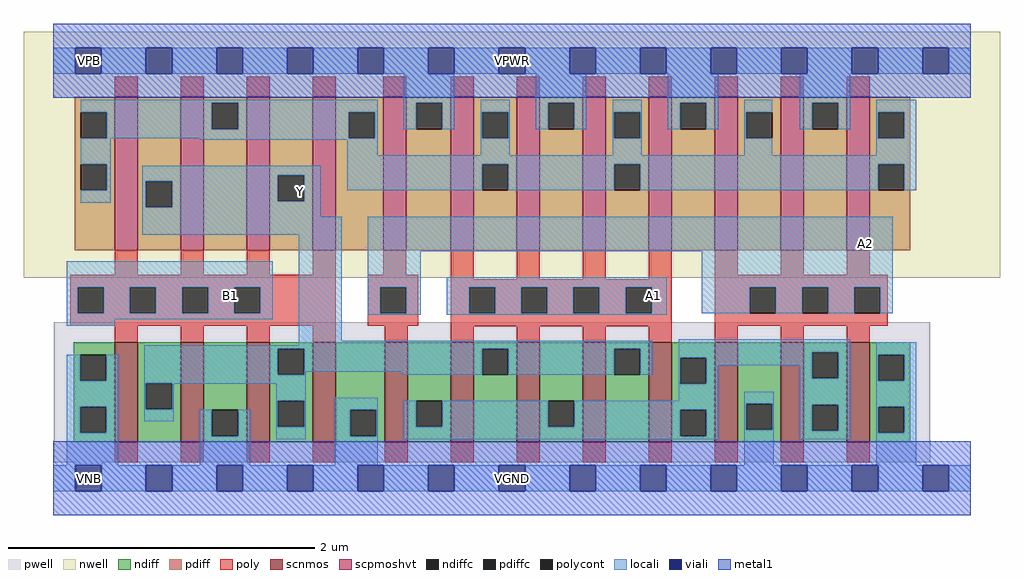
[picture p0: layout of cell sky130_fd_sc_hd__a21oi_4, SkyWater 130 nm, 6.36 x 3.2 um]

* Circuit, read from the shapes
.subckt sky130_fd_sc_hd__a21oi_4 A1 A2 B1 VGND VNB VPB VPWR Y
XM1 Y B1 VGND VNB sky130_fd_pr__nfet_01v8 w=0.65 l=0.15 m=4
XM2 n1 A2 VGND VNB sky130_fd_pr__nfet_01v8 w=0.65 l=0.15 m=4
XM3 Y A1 n1 VNB sky130_fd_pr__nfet_01v8 w=0.65 l=0.15 m=4
XM4 Y B1 n2 VPB sky130_fd_pr__pfet_01v8_hvt w=1 l=0.15 m=4
XM5 VPWR A2 n2 VPB sky130_fd_pr__pfet_01v8_hvt w=1 l=0.15 m=4
XM6 n2 A1 VPWR VPB sky130_fd_pr__pfet_01v8_hvt w=1 l=0.15 m=4
.ends

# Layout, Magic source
magic
tech sky130B
magscale 1 2
<< nwell >>
rect -38 261 1234 582
<< pwell >>
rect 1 21 1143 203
rect 30 -17 64 21
<< scnmos >>
rect 80 47 110 177
rect 166 47 196 177
rect 252 47 282 177
rect 338 47 368 177
rect 432 47 462 177
rect 518 47 548 177
rect 604 47 634 177
rect 690 47 720 177
rect 776 47 806 177
rect 862 47 892 177
rect 948 47 978 177
rect 1034 47 1064 177
<< scpmoshvt >>
rect 80 297 110 497
rect 166 297 196 497
rect 252 297 282 497
rect 338 297 368 497
rect 430 297 460 497
rect 518 297 548 497
rect 604 297 634 497
rect 690 297 720 497
rect 776 297 806 497
rect 862 297 892 497
rect 948 297 978 497
rect 1034 297 1064 497
<< ndiff >>
rect 27 161 80 177
rect 27 127 35 161
rect 69 127 80 161
rect 27 93 80 127
rect 27 59 35 93
rect 69 59 80 93
rect 27 47 80 59
rect 110 124 166 177
rect 110 90 121 124
rect 155 90 166 124
rect 110 47 166 90
rect 196 89 252 177
rect 196 55 207 89
rect 241 55 252 89
rect 196 47 252 55
rect 282 169 338 177
rect 282 135 293 169
rect 327 135 338 169
rect 282 101 338 135
rect 282 67 293 101
rect 327 67 338 101
rect 282 47 338 67
rect 368 89 432 177
rect 368 55 387 89
rect 421 55 432 89
rect 368 47 432 55
rect 462 101 518 177
rect 462 67 473 101
rect 507 67 518 101
rect 462 47 518 67
rect 548 169 604 177
rect 548 135 559 169
rect 593 135 604 169
rect 548 47 604 135
rect 634 101 690 177
rect 634 67 645 101
rect 679 67 690 101
rect 634 47 690 67
rect 720 169 776 177
rect 720 135 731 169
rect 765 135 776 169
rect 720 47 776 135
rect 806 157 862 177
rect 806 123 817 157
rect 851 123 862 157
rect 806 89 862 123
rect 806 55 817 89
rect 851 55 862 89
rect 806 47 862 55
rect 892 97 948 177
rect 892 63 903 97
rect 937 63 948 97
rect 892 47 948 63
rect 978 164 1034 177
rect 978 130 989 164
rect 1023 130 1034 164
rect 978 96 1034 130
rect 978 62 989 96
rect 1023 62 1034 96
rect 978 47 1034 62
rect 1064 161 1117 177
rect 1064 127 1075 161
rect 1109 127 1117 161
rect 1064 93 1117 127
rect 1064 59 1075 93
rect 1109 59 1117 93
rect 1064 47 1117 59
<< pdiff >>
rect 28 477 80 497
rect 28 443 36 477
rect 70 443 80 477
rect 28 409 80 443
rect 28 375 36 409
rect 70 375 80 409
rect 28 297 80 375
rect 110 387 166 497
rect 110 353 121 387
rect 155 353 166 387
rect 110 297 166 353
rect 196 489 252 497
rect 196 455 207 489
rect 241 455 252 489
rect 196 297 252 455
rect 282 395 338 497
rect 282 361 293 395
rect 327 361 338 395
rect 282 297 338 361
rect 368 477 430 497
rect 368 443 385 477
rect 419 443 430 477
rect 368 297 430 443
rect 460 489 518 497
rect 460 455 473 489
rect 507 455 518 489
rect 460 297 518 455
rect 548 477 604 497
rect 548 443 559 477
rect 593 443 604 477
rect 548 409 604 443
rect 548 375 559 409
rect 593 375 604 409
rect 548 297 604 375
rect 634 489 690 497
rect 634 455 645 489
rect 679 455 690 489
rect 634 297 690 455
rect 720 477 776 497
rect 720 443 731 477
rect 765 443 776 477
rect 720 409 776 443
rect 720 375 731 409
rect 765 375 776 409
rect 720 297 776 375
rect 806 489 862 497
rect 806 455 817 489
rect 851 455 862 489
rect 806 297 862 455
rect 892 477 948 497
rect 892 443 903 477
rect 937 443 948 477
rect 892 297 948 443
rect 978 489 1034 497
rect 978 455 989 489
rect 1023 455 1034 489
rect 978 297 1034 455
rect 1064 477 1117 497
rect 1064 443 1075 477
rect 1109 443 1117 477
rect 1064 409 1117 443
rect 1064 375 1075 409
rect 1109 375 1117 409
rect 1064 297 1117 375
<< ndiffc >>
rect 35 127 69 161
rect 35 59 69 93
rect 121 90 155 124
rect 207 55 241 89
rect 293 135 327 169
rect 293 67 327 101
rect 387 55 421 89
rect 473 67 507 101
rect 559 135 593 169
rect 645 67 679 101
rect 731 135 765 169
rect 817 123 851 157
rect 817 55 851 89
rect 903 63 937 97
rect 989 130 1023 164
rect 989 62 1023 96
rect 1075 127 1109 161
rect 1075 59 1109 93
<< pdiffc >>
rect 36 443 70 477
rect 36 375 70 409
rect 121 353 155 387
rect 207 455 241 489
rect 293 361 327 395
rect 385 443 419 477
rect 473 455 507 489
rect 559 443 593 477
rect 559 375 593 409
rect 645 455 679 489
rect 731 443 765 477
rect 731 375 765 409
rect 817 455 851 489
rect 903 443 937 477
rect 989 455 1023 489
rect 1075 443 1109 477
rect 1075 375 1109 409
<< poly >>
rect 80 497 110 523
rect 166 497 196 523
rect 252 497 282 523
rect 338 497 368 523
rect 430 497 460 523
rect 518 497 548 523
rect 604 497 634 523
rect 690 497 720 523
rect 776 497 806 523
rect 862 497 892 523
rect 948 497 978 523
rect 1034 497 1064 523
rect 80 265 110 297
rect 166 265 196 297
rect 252 265 282 297
rect 338 265 368 297
rect 430 265 460 297
rect 22 249 368 265
rect 22 215 32 249
rect 66 215 100 249
rect 134 215 168 249
rect 202 215 236 249
rect 270 215 368 249
rect 22 199 368 215
rect 410 249 476 265
rect 410 215 426 249
rect 460 215 476 249
rect 410 199 476 215
rect 518 259 548 297
rect 604 259 634 297
rect 690 259 720 297
rect 776 259 806 297
rect 518 249 806 259
rect 518 215 542 249
rect 576 215 610 249
rect 644 215 678 249
rect 712 215 746 249
rect 780 215 806 249
rect 80 177 110 199
rect 166 177 196 199
rect 252 177 282 199
rect 338 177 368 199
rect 432 177 462 199
rect 518 198 806 215
rect 518 177 548 198
rect 604 177 634 198
rect 690 177 720 198
rect 776 177 806 198
rect 862 265 892 297
rect 948 265 978 297
rect 1034 265 1064 297
rect 862 249 1088 265
rect 862 215 908 249
rect 942 215 976 249
rect 1010 215 1044 249
rect 1078 215 1088 249
rect 862 199 1088 215
rect 862 177 892 199
rect 948 177 978 199
rect 1034 177 1064 199
rect 80 21 110 47
rect 166 21 196 47
rect 252 21 282 47
rect 338 21 368 47
rect 432 21 462 47
rect 518 21 548 47
rect 604 21 634 47
rect 690 21 720 47
rect 776 21 806 47
rect 862 21 892 47
rect 948 21 978 47
rect 1034 21 1064 47
<< polycont >>
rect 32 215 66 249
rect 100 215 134 249
rect 168 215 202 249
rect 236 215 270 249
rect 426 215 460 249
rect 542 215 576 249
rect 610 215 644 249
rect 678 215 712 249
rect 746 215 780 249
rect 908 215 942 249
rect 976 215 1010 249
rect 1044 215 1078 249
<< locali >>
rect 0 527 29 561
rect 63 527 121 561
rect 155 527 213 561
rect 247 527 305 561
rect 339 527 397 561
rect 431 527 489 561
rect 523 527 581 561
rect 615 527 673 561
rect 707 527 765 561
rect 799 527 857 561
rect 891 527 949 561
rect 983 527 1041 561
rect 1075 527 1133 561
rect 1167 527 1196 561
rect 36 489 423 493
rect 36 477 207 489
rect 70 455 207 477
rect 241 477 423 489
rect 241 455 385 477
rect 70 443 385 455
rect 419 443 423 477
rect 457 489 523 527
rect 457 455 473 489
rect 507 455 523 489
rect 557 477 595 493
rect 36 409 75 443
rect 191 441 423 443
rect 70 375 75 409
rect 383 421 423 441
rect 557 443 559 477
rect 593 443 595 477
rect 629 489 695 527
rect 629 455 645 489
rect 679 455 695 489
rect 729 477 767 493
rect 557 421 595 443
rect 729 443 731 477
rect 765 443 767 477
rect 801 489 867 527
rect 801 455 817 489
rect 851 455 867 489
rect 901 477 937 493
rect 729 421 767 443
rect 901 443 903 477
rect 973 489 1039 527
rect 973 455 989 489
rect 1023 455 1039 489
rect 1073 477 1125 493
rect 901 421 937 443
rect 1073 443 1075 477
rect 1109 443 1125 477
rect 1073 421 1125 443
rect 383 409 1125 421
rect 36 359 75 375
rect 116 395 349 407
rect 116 387 293 395
rect 116 353 121 387
rect 155 361 293 387
rect 327 361 349 395
rect 383 375 559 409
rect 593 375 731 409
rect 765 375 1075 409
rect 1109 375 1125 409
rect 155 353 349 361
rect 116 341 349 353
rect 116 317 376 341
rect 18 249 286 283
rect 18 215 32 249
rect 66 215 100 249
rect 134 215 168 249
rect 202 215 236 249
rect 270 215 286 249
rect 18 207 286 215
rect 18 199 80 207
rect 320 179 376 317
rect 410 296 1094 341
rect 410 249 479 296
rect 410 215 426 249
rect 460 215 479 249
rect 410 213 479 215
rect 513 249 800 262
rect 513 215 542 249
rect 576 215 610 249
rect 644 215 678 249
rect 712 215 746 249
rect 780 215 800 249
rect 845 249 1094 296
rect 845 215 908 249
rect 942 215 976 249
rect 1010 215 1044 249
rect 1078 215 1094 249
rect 513 213 800 215
rect 320 173 781 179
rect 119 169 781 173
rect 18 127 35 161
rect 69 127 85 161
rect 18 93 85 127
rect 18 59 35 93
rect 69 59 85 93
rect 119 135 293 169
rect 327 139 559 169
rect 327 135 329 139
rect 455 135 559 139
rect 593 135 731 169
rect 765 135 781 169
rect 815 164 1039 181
rect 815 157 989 164
rect 119 124 329 135
rect 119 90 121 124
rect 155 123 329 124
rect 155 90 157 123
rect 119 74 157 90
rect 291 101 329 123
rect 815 123 817 157
rect 851 147 989 157
rect 851 123 867 147
rect 18 17 85 59
rect 191 55 207 89
rect 241 55 257 89
rect 191 17 257 55
rect 291 67 293 101
rect 327 67 329 101
rect 291 51 329 67
rect 367 89 423 105
rect 815 101 867 123
rect 973 130 989 147
rect 1023 130 1039 164
rect 367 55 387 89
rect 421 55 423 89
rect 367 17 423 55
rect 457 67 473 101
rect 507 67 645 101
rect 679 89 867 101
rect 679 67 817 89
rect 457 55 817 67
rect 851 55 867 89
rect 457 51 867 55
rect 901 97 939 113
rect 901 63 903 97
rect 937 63 939 97
rect 901 17 939 63
rect 973 96 1039 130
rect 973 62 989 96
rect 1023 62 1039 96
rect 973 51 1039 62
rect 1073 161 1125 177
rect 1073 127 1075 161
rect 1109 127 1125 161
rect 1073 93 1125 127
rect 1073 59 1075 93
rect 1109 59 1125 93
rect 1073 17 1125 59
rect 0 -17 29 17
rect 63 -17 121 17
rect 155 -17 213 17
rect 247 -17 305 17
rect 339 -17 397 17
rect 431 -17 489 17
rect 523 -17 581 17
rect 615 -17 673 17
rect 707 -17 765 17
rect 799 -17 857 17
rect 891 -17 949 17
rect 983 -17 1041 17
rect 1075 -17 1133 17
rect 1167 -17 1196 17
<< viali >>
rect 29 527 63 561
rect 121 527 155 561
rect 213 527 247 561
rect 305 527 339 561
rect 397 527 431 561
rect 489 527 523 561
rect 581 527 615 561
rect 673 527 707 561
rect 765 527 799 561
rect 857 527 891 561
rect 949 527 983 561
rect 1041 527 1075 561
rect 1133 527 1167 561
rect 29 -17 63 17
rect 121 -17 155 17
rect 213 -17 247 17
rect 305 -17 339 17
rect 397 -17 431 17
rect 489 -17 523 17
rect 581 -17 615 17
rect 673 -17 707 17
rect 765 -17 799 17
rect 857 -17 891 17
rect 949 -17 983 17
rect 1041 -17 1075 17
rect 1133 -17 1167 17
<< metal1 >>
rect 0 561 1196 592
rect 0 527 29 561
rect 63 527 121 561
rect 155 527 213 561
rect 247 527 305 561
rect 339 527 397 561
rect 431 527 489 561
rect 523 527 581 561
rect 615 527 673 561
rect 707 527 765 561
rect 799 527 857 561
rect 891 527 949 561
rect 983 527 1041 561
rect 1075 527 1133 561
rect 1167 527 1196 561
rect 0 496 1196 527
rect 0 17 1196 48
rect 0 -17 29 17
rect 63 -17 121 17
rect 155 -17 213 17
rect 247 -17 305 17
rect 339 -17 397 17
rect 431 -17 489 17
rect 523 -17 581 17
rect 615 -17 673 17
rect 707 -17 765 17
rect 799 -17 857 17
rect 891 -17 949 17
rect 983 -17 1041 17
rect 1075 -17 1133 17
rect 1167 -17 1196 17
rect 0 -48 1196 -17
<< labels >>
flabel locali s 214 221 248 255 0 FreeSans 340 0 0 0 B1
port 3 nsew signal input
flabel locali s 1042 289 1076 323 0 FreeSans 340 0 0 0 A2
port 2 nsew signal input
flabel locali s 766 221 800 255 0 FreeSans 340 0 0 0 A1
port 1 nsew signal input
flabel locali s 306 357 340 391 0 FreeSans 340 0 0 0 Y
port 8 nsew signal output
flabel pwell s 30 -17 64 17 0 FreeSans 200 0 0 0 VNB
port 5 nsew ground bidirectional
flabel nwell s 30 527 64 561 0 FreeSans 200 0 0 0 VPB
port 6 nsew power bidirectional
flabel metal1 s 30 -17 64 17 0 FreeSans 200 0 0 0 VGND
port 4 nsew ground bidirectional abutment
flabel metal1 s 30 527 64 561 0 FreeSans 200 0 0 0 VPWR
port 7 nsew power bidirectional abutment
rlabel comment s 0 0 0 0 4 a21oi_4
rlabel metal1 s 0 -48 1196 48 1 VGND
port 4 nsew ground bidirectional abutment
rlabel metal1 s 0 496 1196 592 1 VPWR
port 7 nsew power bidirectional abutment
<< properties >>
string FIXED_BBOX 0 0 1196 544
string GDS_END 4037400
string GDS_FILE $PDKPATH/libs.ref/sky130_fd_sc_hd/gds/sky130_fd_sc_hd.gds
string GDS_START 4028866
string LEFclass CORE
string LEFsite unithd
string LEFsymmetry X Y R90
string path 0.000 0.000 29.900 0.000 
<< end >>
